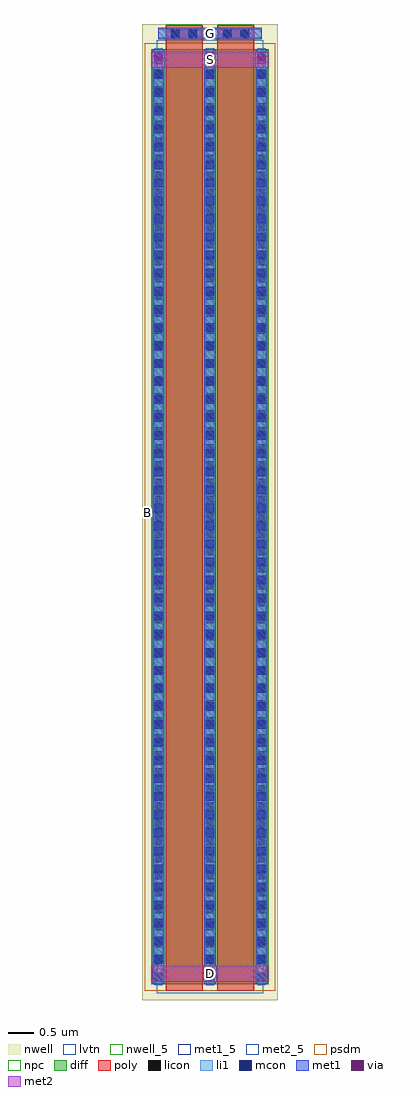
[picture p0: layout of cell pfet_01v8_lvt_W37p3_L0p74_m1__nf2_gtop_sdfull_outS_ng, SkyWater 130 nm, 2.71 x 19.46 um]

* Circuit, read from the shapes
.subckt pfet_01v8_lvt_W37p3_L0p74_m1__nf2_gtop_sdfull_outS_ng B D G S
XM1 D G S B sky130_fd_pr__pfet_01v8_lvt w=18.65 l=0.74 m=2
.ends

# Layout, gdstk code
import gdstk
lib = gdstk.Library(unit=1e-6, precision=1e-09)
def R(c, l, rs):  # rectangles x0, y0, x1, y1
    for r in rs: c.add(gdstk.rectangle(r[:2], r[2:], *l))
def A(c, l, x, y, w, h, nx, ny, dx, dy):  # array of equal rectangles
    R(c, l, [(x+i*dx, y+j*dy, x+i*dx+w, y+j*dy+h) for i in range(nx) for j in range(ny)])
nwell_5 = (64, 5)
nwell = (64, 20)
diff = (65, 20)
poly = (66, 20)
licon = (66, 44)
li1 = (67, 20)
mcon = (67, 44)
met1_5 = (68, 5)
met1 = (68, 20)
via = (68, 44)
met2_5 = (69, 5)
met2 = (69, 20)
psdm = (94, 20)
npc = (95, 20)
lvtn = (125, 44)

sky130_fd_pr__pfet_01v8_ = lib.new_cell('sky130_fd_pr__pfet_01v8_lvt_XT2NE7')
R(sky130_fd_pr__pfet_01v8_, nwell, [(-1.355,-9.815,1.355,9.645)])
R(sky130_fd_pr__pfet_01v8_, diff, [(-1.175,-9.505,1.175,9.145)])
R(sky130_fd_pr__pfet_01v8_, poly, [(-0.885,-9.635,-0.145,9.63), (0.145,-9.635,0.885,9.63)])
A(sky130_fd_pr__pfet_01v8_, licon, -1.115, -9.445, 0.17, 0.17, 3, 55, 1.03, 0.34)
R(sky130_fd_pr__pfet_01v8_, licon, [(-0.77,9.38,-0.6,9.55), (-0.43,9.38,-0.26,9.55), (0.26,9.38,0.43,9.55), (0.6,9.38,0.77,9.55)])
A(sky130_fd_pr__pfet_01v8_, li1, -1.115, -9.525, 0.17, 18.69, 3, 1, 1.03, 0)
R(sky130_fd_pr__pfet_01v8_, li1, [(-1.03,9.38,1.03,9.55)])
A(sky130_fd_pr__pfet_01v8_, mcon, -1.115, -9.445, 0.17, 0.17, 3, 52, 1.03, 0.36)
R(sky130_fd_pr__pfet_01v8_, mcon, [(-0.78,9.38,-0.61,9.55), (-0.42,9.38,-0.25,9.55), (0.25,9.38,0.42,9.55), (0.61,9.38,0.78,9.55)])
A(sky130_fd_pr__pfet_01v8_, met1, -1.145, -9.505, 0.23, 18.65, 3, 1, 1.03, 0)
R(sky130_fd_pr__pfet_01v8_, met1, [(-0.865,9.35,-0.165,9.38), (0.165,9.35,0.865,9.38), (-1.03,9.38,1.03,9.55), (-0.865,9.55,-0.165,9.58), (0.165,9.55,0.865,9.58)])
R(sky130_fd_pr__pfet_01v8_, psdm, [(-1.3,-9.63,1.3,9.27)])
R(sky130_fd_pr__pfet_01v8_, npc, [(-0.87,9.28,-0.16,9.65), (0.16,9.28,0.87,9.65)])
R(sky130_fd_pr__pfet_01v8_, lvtn, [(-1.065,-9.685,1.065,9.325)])
sky130_fd_pr__pfet_01v8_.add(gdstk.Label('D0', (-1.03,-0.18), layer=67, texttype=5))
sky130_fd_pr__pfet_01v8_.add(gdstk.Label('G', (0.515,9.465), layer=67, texttype=5))
sky130_fd_pr__pfet_01v8_.add(gdstk.Label('G', (-0.515,9.465), layer=67, texttype=5))
sky130_fd_pr__pfet_01v8_.add(gdstk.Label('S1', (0,-0.18), layer=67, texttype=5))

pfet_01v8_lvt_w37p3_l0p7 = lib.new_cell('pfet_01v8_lvt_W37p3_L0p74_m1__nf2_gtop_sdfull_outS_ng')
R(pfet_01v8_lvt_w37p3_l0p7, nwell_5, [(0.05,9.68,0.15,9.78)])
R(pfet_01v8_lvt_w37p3_l0p7, nwell, [(0.05,9.68,0.15,9.78)])
R(pfet_01v8_lvt_w37p3_l0p7, met1_5, [(0.325,19.165,2.385,19.395)])
R(pfet_01v8_lvt_w37p3_l0p7, met1, [(1.225,0.36,1.485,0.68), (0.195,18.59,0.455,18.91), (2.255,18.59,2.515,18.91), (0.325,19.165,2.385,19.395)])
R(pfet_01v8_lvt_w37p3_l0p7, via, [(1.28,0.445,1.43,0.595), (0.25,18.675,0.4,18.825), (2.31,18.675,2.46,18.825)])
R(pfet_01v8_lvt_w37p3_l0p7, met2_5, [(0.19,0.36,2.52,0.68), (0.19,18.59,2.52,18.91)])
R(pfet_01v8_lvt_w37p3_l0p7, met2, [(0.19,0.36,2.52,0.68), (0.19,18.59,2.52,18.91)])
pfet_01v8_lvt_w37p3_l0p7.add(gdstk.Reference(sky130_fd_pr__pfet_01v8_, (1.355,9.815)))
pfet_01v8_lvt_w37p3_l0p7.add(gdstk.Label('S', (1.355,18.75), layer=69, texttype=5))
pfet_01v8_lvt_w37p3_l0p7.add(gdstk.Label('D', (1.355,0.52), layer=69, texttype=5))
pfet_01v8_lvt_w37p3_l0p7.add(gdstk.Label('G', (1.355,19.28), layer=68, texttype=5))
pfet_01v8_lvt_w37p3_l0p7.add(gdstk.Label('B', (0.1,9.73), layer=64, texttype=5))

lib.write_gds('pfet_01v8_lvt_W37p3_L0p74_m1__nf2_gtop_sdfull_outS_ng.gds')
